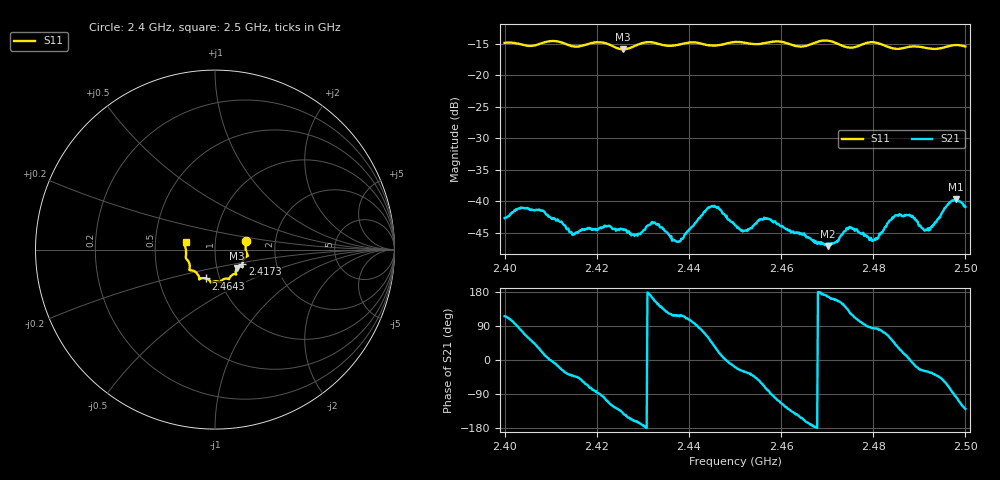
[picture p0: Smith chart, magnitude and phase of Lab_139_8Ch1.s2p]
# Hz S RI R 50
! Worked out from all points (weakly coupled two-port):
!   601 points, 2.4 GHz to 2.5 GHz, reference 50 ohm
!   highest |S21| = -39.66 dB at 2.498 GHz (marker M1); lowest = -47.1 dB at 2.4702 GHz (marker M2)
!   lowest |S11| = -15.9 dB at 2.4257 GHz (marker M3), VSWR 1.38, Z = 62.5 - j13.1 ohm
!   |S11| at or under -10 dB: start of sweep to end of sweep
!   S12 and S22 are empty: the file has one direction only
!   S11 on the Smith chart (normalised r, x): 2.4 GHz: 1.41, +0.14; 2.4173 GHz: 1.34, -0.23; 2.4643 GHz: 0.86, -0.29; 2.5 GHz: 0.72, +0.06
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2.4e9  0.1735 0.0496  -0.00316 0.00666  0 0  0 0
2.407833e9  0.177 -0.0193  0.00771 0.00357  0 0  0 0
2.4145e9  0.1625 -0.0508  0.00429 -0.00377  0 0  0 0
2.416667e9  0.153 -0.0746  0.00364 -0.00471  0 0  0 0
2.417333e9  0.1522 -0.0821  0.00295 -0.00516  0 0  0 0
2.425667e9  0.1229 -0.1024  -0.00457 -0.00389  0 0  0 0
2.433333e9  0.1126 -0.1368  -0.00551 0.00345  0 0  0 0
2.437667e9  0.0842 -0.1524  -0.0022 0.00423  0 0  0 0
2.445167e9  0.0544 -0.1624  0.00679 0.00617  0 0  0 0
2.45e9  0.0293 -0.1809  0.00612 -0.00211  0 0  0 0
2.452167e9  0.0219 -0.1791  0.005 -0.00309  0 0  0 0
2.456833e9  -0.0123 -0.18  0.0018 -0.00715  0 0  0 0
2.464333e9  -0.05 -0.161  -0.00489 -0.00249  0 0  0 0
2.466667e9  -0.0761 -0.1598  -0.0049 -0.000682  0 0  0 0
2.470167e9  -0.0876 -0.1658  -0.0043 0.000997  0 0  0 0
2.474667e9  -0.1031 -0.1294  -0.00397 0.00474  0 0  0 0
2.480167e9  -0.1428 -0.113  0.000558 0.00493  0 0  0 0
2.483333e9  -0.1406 -0.09  0.00308 0.00608  0 0  0 0
2.487667e9  -0.1589 -0.0528  0.00776 0.000673  0 0  0 0
2.491833e9  -0.1612 -0.0268  0.00525 -0.00313  0 0  0 0
2.498e9  -0.1704 0.0318  -0.00154 -0.0103  0 0  0 0
2.5e9  -0.1635 0.0421  -0.0057 -0.00701  0 0  0 0
